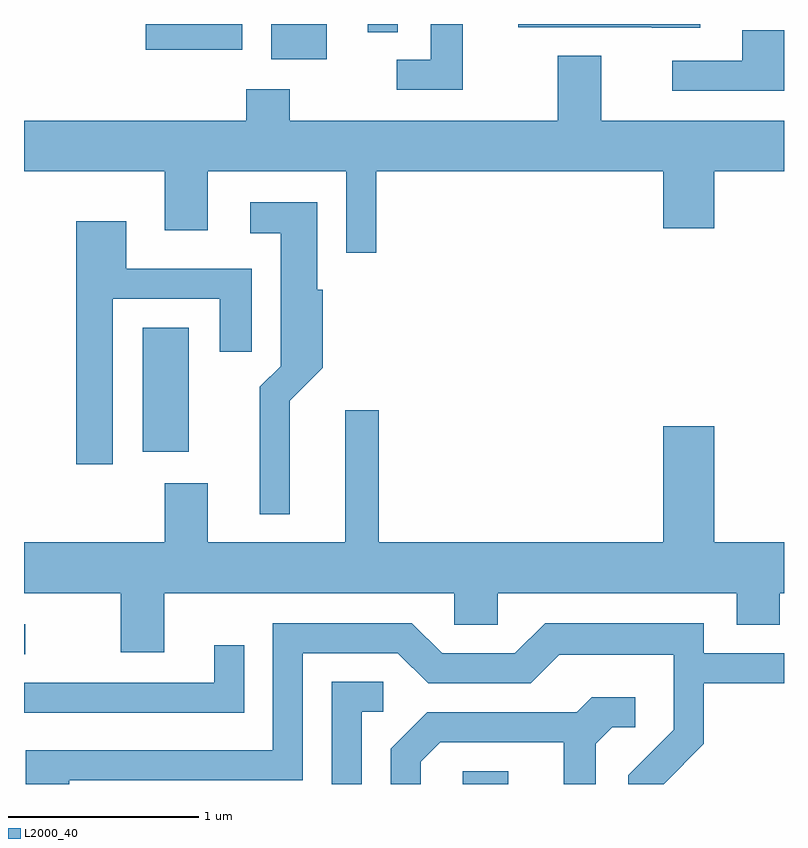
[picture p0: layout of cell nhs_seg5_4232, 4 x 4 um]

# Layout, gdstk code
import gdstk
lib = gdstk.Library(unit=1e-6, precision=1e-09)
def R(c, l, rs):  # rectangles x0, y0, x1, y1
    for r in rs: c.add(gdstk.rectangle(r[:2], r[2:], *l))
def P(c, l, *ps):  # polygons
    for p in ps: c.add(gdstk.Polygon(p, *l))
L2000_40 = (2000, 40)

nhs_seg5_4232 = lib.new_cell('nhs_seg5_4232')
R(nhs_seg5_4232, L2000_40, [(313.921,1398.072,314.159,1398.139), (311.611,1398.756,311.618,1398.914), (312.236,1399.821,312.479,1400.474), (312.911,1401.886,313.204,1402.072), (312.253,1401.936,312.759,1402.072), (313.421,1402.028,313.579,1402.072)])
P(nhs_seg5_4232, L2000_40, [(315.169,1402.072),(314.211,1402.072),(314.211,1402.056),(314.915,1402.056),(314.915,1402.051),(315.169,1402.051)],
  [(313.919,1402.072),(313.751,1402.072),(313.751,1401.884),(313.573,1401.884),(313.573,1401.726),(313.919,1401.726)],
  [(315.611,1402.039),(315.391,1402.039),(315.391,1401.879),(315.023,1401.879),(315.023,1401.721),(315.611,1401.721)],
  [(313.464,1401.296),(314.976,1401.296),(314.976,1400.996),(315.244,1400.996),(315.244,1401.296),(315.611,1401.296),(315.611,1401.564),(314.649,1401.564),(314.649,1401.904),(314.421,1401.904),(314.421,1401.564),(313.009,1401.564),(313.009,1401.729),(312.781,1401.729),(312.781,1401.564),(311.611,1401.564),(311.611,1401.296),(312.351,1401.296),(312.351,1400.986),(312.579,1400.986),(312.579,1401.296),(313.306,1401.296),(313.306,1400.868),(313.464,1400.868)],
  [(313.009,1400.089),(313.184,1400.264),(313.184,1400.674),(313.154,1400.674),(313.154,1401.134),(312.803,1401.134),(312.803,1400.971),(312.961,1400.971),(312.961,1400.272),(312.851,1400.162),(312.851,1399.493),(313.009,1399.493)],
  [(312.079,1400.626),(312.641,1400.626),(312.641,1400.348),(312.809,1400.348),(312.809,1400.784),(312.149,1400.784),(312.149,1401.034),(311.886,1401.034),(311.886,1399.756),(312.079,1399.756)],
  [(312.349,1399.076),(313.876,1399.076),(313.876,1398.911),(314.104,1398.911),(314.104,1399.076),(315.361,1399.076),(315.361,1398.911),(315.589,1398.911),(315.589,1399.076),(315.611,1399.076),(315.611,1399.344),(315.244,1399.344),(315.244,1399.954),(314.976,1399.954),(314.976,1399.344),(313.479,1399.344),(313.479,1400.039),(313.301,1400.039),(313.301,1399.344),(312.579,1399.344),(312.579,1399.654),(312.351,1399.654),(312.351,1399.344),(311.611,1399.344),(311.611,1399.076),(312.121,1399.076),(312.121,1398.766),(312.349,1398.766)],
  [(311.849,1398.091),(313.079,1398.091),(313.079,1398.761),(313.579,1398.761),(313.739,1398.601),(314.277,1398.601),(314.427,1398.751),(315.031,1398.751),(315.031,1398.357),(314.791,1398.117),(314.791,1398.072),(314.977,1398.072),(315.189,1398.284),(315.189,1398.601),(315.611,1398.601),(315.611,1398.759),(315.189,1398.759),(315.189,1398.919),(314.354,1398.919),(314.194,1398.759),(313.812,1398.759),(313.652,1398.919),(312.921,1398.919),(312.921,1398.249),(311.621,1398.249),(311.621,1398.072),(311.849,1398.072)],
  [(312.769,1398.803),(312.611,1398.803),(312.611,1398.604),(311.611,1398.604),(311.611,1398.446),(312.769,1398.446)],
  [(313.389,1398.451),(313.503,1398.451),(313.503,1398.609),(313.231,1398.609),(313.231,1398.072),(313.389,1398.072)],
  [(313.699,1398.189),(313.802,1398.291),(314.451,1398.291),(314.451,1398.072),(314.619,1398.072),(314.619,1398.284),(314.707,1398.371),(314.828,1398.371),(314.828,1398.529),(314.599,1398.529),(314.519,1398.449),(313.734,1398.449),(313.541,1398.257),(313.541,1398.072),(313.699,1398.072)])

lib.write_gds('nhs_seg5_4232.gds')
